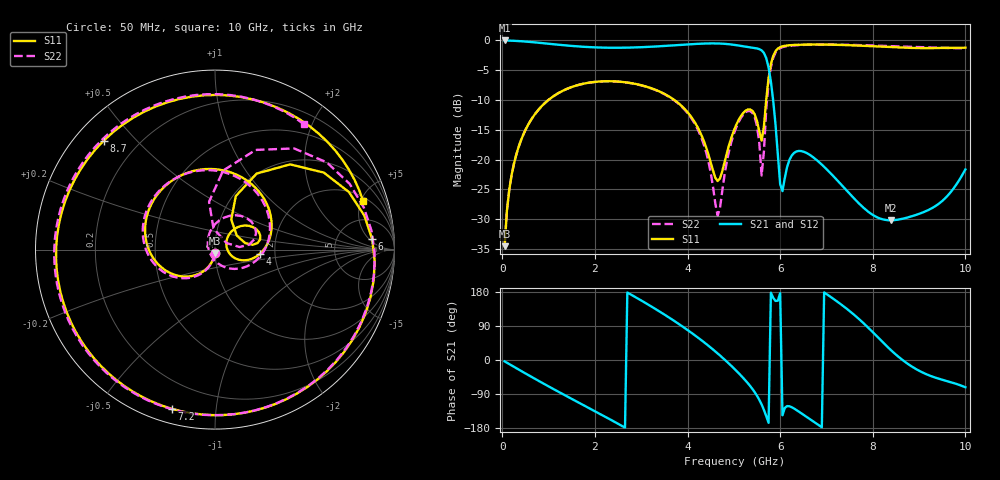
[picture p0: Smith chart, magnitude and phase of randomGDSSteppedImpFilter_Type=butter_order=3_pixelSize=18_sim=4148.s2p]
! freq	dB(S11)	phase(S11)	dB(S12)	phase(S12)
!  dB(S21)	phase(S21)	dB(S22)	phase(S22)
!S-par simulation data
#  GHz  S  DB  R 50
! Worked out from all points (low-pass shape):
!   200 points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, 50 MHz to 10 GHz, reference 50 ohm
!   highest |S21| = -0.01 dB at 50 MHz (marker M1); lowest = -30.2 dB at 8.4 GHz (marker M2)
!   |S21| within 3 dB of the highest: start of sweep to 5.701 GHz
!   lowest |S11| = -34.5 dB at 50 MHz (marker M3), VSWR 1.04, Z = 49.9 - j1.87 ohm
!   |S11| at or under -10 dB: start of sweep to 994.9 MHz; 3.717 GHz to 5.699 GHz (1.982 GHz wide, 42.1 % of centre)
!   |S22| runs from -34.5 to -0.7 dB; largest |S21 - S12| = 0
!   S11 on the Smith chart (normalised r, x): 50 MHz: 1.00, -0.04; 4 GHz: 1.66, -0.09; 6 GHz: 12, +6; 7.2 GHz: 0.07, -0.76; 8.7 GHz: 0.08, +0.40; 10 GHz: 2.36, +5.22
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0.05  -34.51 -93.3  -0.01 -3.6  -0.01 -3.6  -34.51 -93.1
0.2  -22.63 -104.9  -0.05 -14.3  -0.05 -14.3  -22.63 -103.9
0.5  -15.02 -127.1  -0.19 -35.5  -0.19 -35.5  -15.02 -124.7
1.1  -9.39 -169.5  -0.64 -76.4  -0.64 -76.4  -9.38 -164.3
1.75  -7.27 146.6  -1.07 -119.0  -1.07 -119.0  -7.27 154.5
2.6  -6.97 90.0  -1.23 -175.0  -1.23 -175.0  -6.98 99.5
3.4  -8.58 35.4  -0.98 127.6  -0.98 127.6  -8.63 41.1
4  -12.04 -5.6  -0.68 79.2  -0.68 79.2  -12.19 -11.7
4.65  -23.59 10.4  -0.51 17.4  -0.51 17.4  -29.37 -152.5
5.05  -14.18 42.2  -0.80 -27.9  -0.80 -27.9  -14.62 73.9
5.45  -12.40 8.8  -1.28 -84.8  -1.28 -84.8  -12.88 14.7
5.6  -16.81 32.7  -1.67 -117.4  -1.67 -117.4  -22.66 29.9
5.7  -9.90 68.8  -2.98 -148.2  -2.98 -148.2  -11.43 97.1
5.85  -2.58 35.3  -10.11 164.1  -10.11 164.1  -2.91 52.0
6  -1.13 3.8  -24.09 176.3  -24.09 176.3  -1.29 15.8
6.7  -0.69 -68.2  -19.52 -160.9  -19.52 -160.9  -0.71 -63.6
7.2  -0.73 -105.3  -23.18 157.0  -23.18 157.0  -0.71 -100.9
8.35  -1.12 166.6  -30.16 30.9  -30.16 30.9  -0.95 -177.6
8.4  -1.14 162.3  -30.17 25.1  -30.17 25.1  -0.96 179.0
8.7  -1.23 135.7  -29.81 -5.3  -29.81 -5.3  -1.05 158.0
9.3  -1.28 79.9  -28.04 -44.4  -28.04 -44.4  -1.20 112.9
10  -1.22 18.2  -21.65 -72.0  -21.65 -72.0  -1.34 54.9
